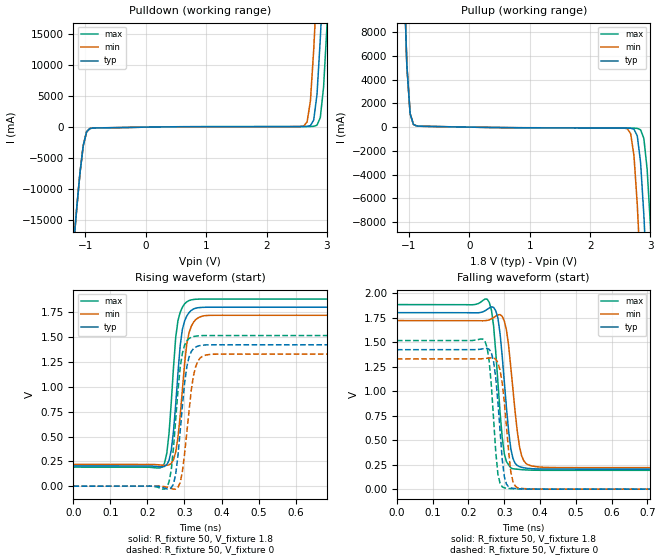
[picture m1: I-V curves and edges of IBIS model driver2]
| IBIS file inv_chain_1ps.ibs created by PYS2IBIS3
| Missouri S&T EMC Lab
[IBIS Ver] 7.1
[File Name] inv_chain_1ps.ibs
[File Rev] 1.0
[Date] Jul 27, 2026
[Source] Eight-stage inv_chain transistor model characterized with s2ibispy
[Notes] Edge-rate sweep; tr=tf=1ps. All other settings match
 inv_chain_fast_5ps.
[Component] invchain
[Manufacturer] s2ibispy study
[Package]
| variable   typ   min   max
R_pkg 0 NA NA
L_pkg 0H NA NA
C_pkg 0F NA NA
[Pin]  signal_name   model_name   R_pin   L_pin   C_pin
VSSQ   VSSQ   Gnd
VCCQ   VCCQ   Power
| IN IN dummy
PAD   PAD   driver2
| End of Component
| Models and submodels in the file (1): driver2 (Output)
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[Model] driver2
Model_type Output
Polarity Non-Inverting
Enable Active-High
Vinl  = 0.8V
Vinh  = 2V
C_comp 0.4680pF NA NA
[Temperature Range] 27.0000 27.0000 27.0000
[Voltage Range] 1.8000V 1.7000V 1.9000V
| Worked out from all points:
|   slope of the pulldown table from 0 to 0.27 V, typ, clamps not added: 6.79 ohm
|   slope of the pullup table from 0 to 0.27 V, typ, clamps not added: 12.6 ohm
|   rising waveform, R_fixture 50, V_fixture 1.8: 20-80 % time 21.4ps typ, 22.7ps min, 19.9ps max; typ from 0.204 V to 1.8 V
|   rising waveform, R_fixture 50, V_fixture 0: 20-80 % time 22.4ps typ, 24ps min, 21.1ps max; typ from 0 V to 1.42 V
|   falling waveform, R_fixture 50, V_fixture 1.8: 20-80 % time 23.5ps typ, 25.8ps min, 21.3ps max; typ from 1.8 V to 0.204 V
|   falling waveform, R_fixture 50, V_fixture 0: 20-80 % time 18.8ps typ, 20.8ps min, 18.1ps max; typ from 1.42 V to 0 V
[Pulldown]
| Voltage   I(typ)   I(min)   I(max)
-1.8V     -87.88A    -87.88A    -87.88A
-1.2V     -19.4A     -19.4A     -19.4A
-1.036V   -2.952A    -2.948A    -2.955A
-927.3mV  -221.8mA   -216.4mA   -227mA
2.618V    95.77mA    193.1mA    97.15mA
2.727V    244.8mA    4.224A     106.4mA
2.782V    1.151A     12.49A     132.5mA
2.836V    5.27A      23.04A     313.7mA
2.891V    14.25A     33.59A     1.533A
2.946V    24.81A     44.15A     6.464A
3V        35.36A     54.71A     16.02A
3.6V      151.5A     170.8A     132.1A
[Pullup]
| Voltage   I(typ)   I(min)   I(max)
-1.8V     151.4A     151.4A     151.4A
-1.091V   14.2A      14.19A     14.2A
-981.8mV  1.13A      1.129A     1.132A
-872.7mV  99.18mA    97.54mA    100.6mA
2.618V    -78.19mA   -142.5mA   -79.21mA
2.727V    -177.2mA   -2.408A    -86.52mA
2.782V    -728.3mA   -6.523A    -104.6mA
2.836V    -2.952A    -12.18A    -222.3mA
2.891V    -7.391A    -18.4A     -950.7mA
2.946V    -13.22A    -24.62A    -3.561A
3V        -19.44A    -30.85A    -8.297A
3.6V      -87.92A    -99.33A    -76.52A
[Ramp]
| variable   typ   min   max
dV/dt_r 0.8532/0.02186n 0.7968/0.02333n 0.9090/0.02037n
dV/dt_f 0.9575/0.02294n 0.8972/0.02485n 1.0171/0.02137n
R_load = 50
[Rising Waveform]
R_fixture = 50
V_fixture = 1.8
|time   V(typ)   V(min)   V(max)
0s        204.2mV    219.5mV    192.2mV
240.2ps   195.6mV    211.3mV    194.8mV
252.3ps   217.5mV    210.7mV    333.1mV
264.3ps   362.3mV    229.3mV    841.5mV
276.3ps   821.3mV    343.2mV    1.494V
282.3ps   1.133V     489mV      1.663V
294.3ps   1.577V     961.8mV    1.799V
306.3ps   1.712V     1.435V     1.854V
330.3ps   1.79V      1.675V     1.88V
6ns       1.8V       1.719V     1.882V
[Rising Waveform]
R_fixture = 50
V_fixture = 0
|time   V(typ)   V(min)   V(max)
0s        13.08nV    12.76nV    13.48nV
252.3ps   -27.35mV   -8.577mV   -13.32mV
264.3ps   -15.79mV   -23.32mV   164.1mV
276.3ps   121.6mV    -28.68mV   671.8mV
288.3ps   547.8mV    36.32mV    1.191V
294.3ps   805.1mV    145.7mV    1.337V
312.3ps   1.299V     766.9mV    1.485V
324.3ps   1.383V     1.112V     1.505V
336.3ps   1.409V     1.258V     1.512V
6ns       1.422V     1.328V     1.515V
[Falling Waveform]
R_fixture = 50
V_fixture = 1.8
|time   V(typ)   V(min)   V(max)
0s        1.8V       1.719V     1.882V
252.3ps   1.833V     1.721V     1.937V
270.3ps   1.854V     1.75V      1.661V
282.3ps   1.745V     1.777V     1.085V
300.3ps   1.087V     1.713V     358mV
318.3ps   413.9mV    1.245V     217.7mV
336.3ps   241.6mV    594.9mV    203.1mV
348.3ps   223.1mV    343.1mV    198.6mV
444.4ps   204.2mV    220mV      192.1mV
6ns       204.2mV    219.5mV    192.2mV
[Falling Waveform]
R_fixture = 50
V_fixture = 0
|time   V(typ)   V(min)   V(max)
0s        1.422V     1.328V     1.515V
246.2ps   1.435V     1.332V     1.508V
258.3ps   1.425V     1.337V     1.289V
270.3ps   1.298V     1.339V     709.8mV
282.3ps   885.1mV    1.289V     152.6mV
300.3ps   126.3mV    884.9mV    13.24mV
318.3ps   12.78mV    177.2mV    5.136mV
336.3ps   4.883mV    15.62mV    2.049mV
402.4ps   135.9uV    524.8uV    27.36uV
6ns       13.08nV    12.89nV    13.49nV
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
